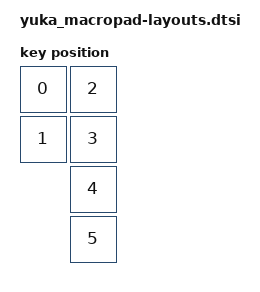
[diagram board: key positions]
// See https://zmk.dev/docs/development/hardware-integration/physical-layouts
// for how to configure this.

#include <physical_layouts.dtsi>

/ {
    default_layout: default_layout {
        compatible = "zmk,physical-layout";
        display-name = "Default Layout";
        transform = <&default_transform>;
        kscan = <&kscan>;

        // Edit this to define the positions and sizes of the keys, or remove it
        // if your keyboard will not support ZMK Studio.
        // https://zmk.dev/docs/development/hardware-integration/physical-layouts#optional-keys-property
        keys // X/Y座標の単位は100（1U単位）です
            // 左列 (X=0)
            = <&key_physical_attrs 100 100   0   0 0 0 0> // SW1
            , <&key_physical_attrs 100 100   0 100 0 0 0> // SW2
            
            // 右列 (X=100)
            , <&key_physical_attrs 100 100 100   0 0 0 0> // SW3
            , <&key_physical_attrs 100 100 100 100 0 0 0> // SW4
            , <&key_physical_attrs 100 100 100 200 0 0 0> // SW5
            , <&key_physical_attrs 100 100 100 300 0 0 0> // SW6
            ;
    };
};
